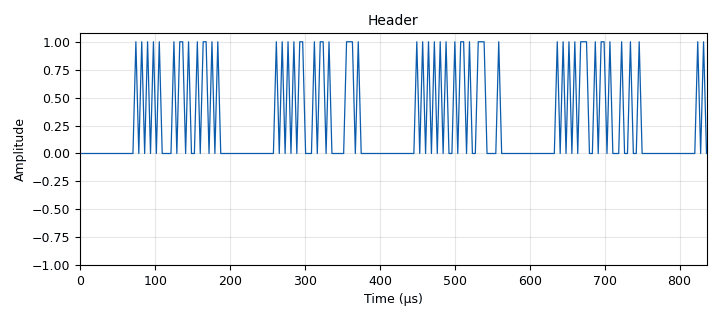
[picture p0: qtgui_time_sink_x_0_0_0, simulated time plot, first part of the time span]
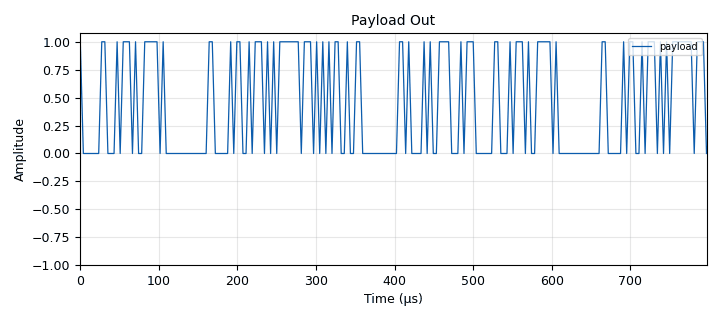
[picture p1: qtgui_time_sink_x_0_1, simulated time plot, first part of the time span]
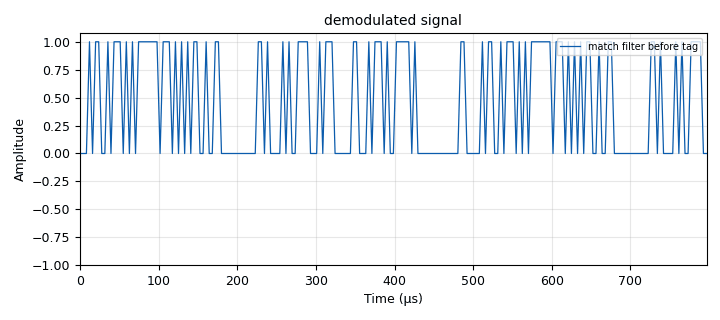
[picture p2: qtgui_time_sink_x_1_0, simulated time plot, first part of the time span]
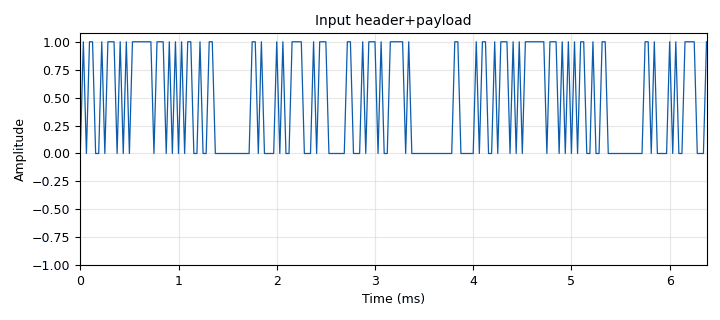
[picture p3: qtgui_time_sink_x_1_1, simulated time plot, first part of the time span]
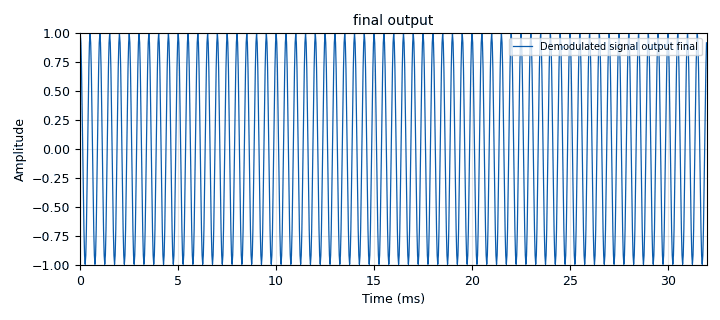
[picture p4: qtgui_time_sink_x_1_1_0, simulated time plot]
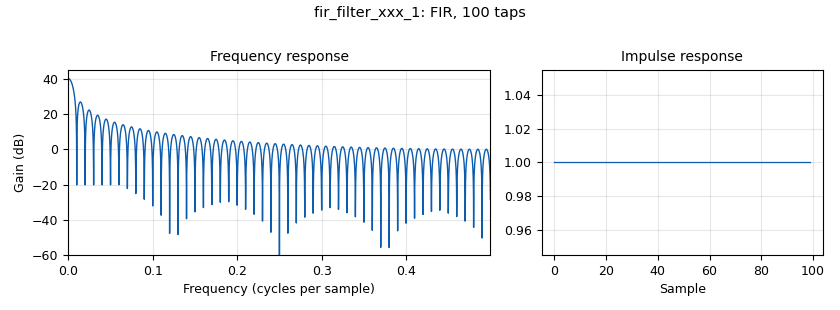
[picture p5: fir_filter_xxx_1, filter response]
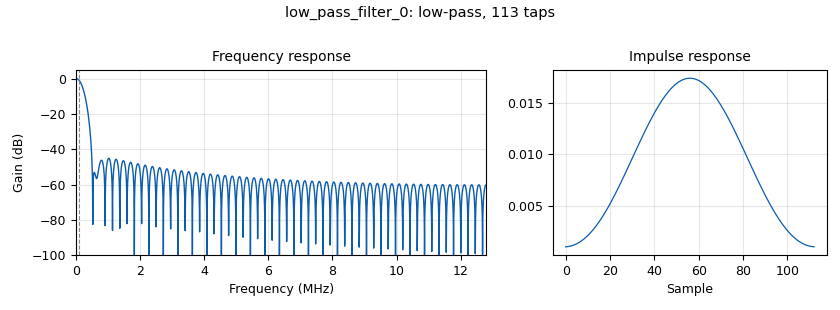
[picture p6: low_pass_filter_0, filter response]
options:
  parameters:
    generate_options: qt_gui
    id: fsk_mod_demod
    output_language: python
    title: Not titled yet
  states: {}

blocks:
- name: Sig1
  id: variable
  parameters:
    value: np.exp((1j)*2*np.pi*np.arange(0,100)/100)
  states: {}
- name: hbits
  id: variable
  parameters:
    value: '48'
  states: {}
- name: nbits
  id: variable
  parameters:
    value: '2728'
  states: {}
- name: out_delay
  id: variable_qtgui_range
  parameters:
    label: sig_delay2
    start: '0'
    step: '1'
    stop: '100'
    value: '0'
  states: {}
- name: samp_rate
  id: variable
  parameters:
    value: 3.2e6
  states: {}
- name: sdelay
  id: variable_qtgui_range
  parameters:
    label: sig_delay
    start: '0'
    step: '1'
    stop: '100'
    value: '49'
  states: {}
- name: analog_sig_source_x_0
  id: analog_sig_source_x
  parameters:
    amp: '127'
    freq: '2000'
    offset: '0'
    phase: '0'
    samp_rate: samp_rate/100
    type: byte
    waveform: analog.GR_COS_WAVE
  states: {}
- name: analog_sig_source_x_0_0
  id: analog_sig_source_x
  parameters:
    amp: '1'
    freq: 2e6
    offset: '0'
    phase: '0'
    samp_rate: samp_rate*8
    type: complex
    waveform: analog.GR_COS_WAVE
  states: {}
- name: analog_sig_source_x_0_0_0
  id: analog_sig_source_x
  parameters:
    amp: '1'
    freq: 2e6
    offset: '0'
    phase: '0'
    samp_rate: samp_rate*8
    type: float
    waveform: analog.GR_COS_WAVE
  states: {}
- name: audio_sink_0_0
  id: audio_sink
  parameters:
    samp_rate: '32000'
  states: {}
- name: blocks_add_const_vxx_0
  id: blocks_add_const_vxx
  parameters:
    const: '1'
    type: float
  states: {}
- name: blocks_char_to_float_0
  id: blocks_char_to_float
  parameters:
    scale: '1'
  states: {}
- name: blocks_char_to_float_0_0
  id: blocks_char_to_float
  parameters:
    scale: '1'
  states: {}
- name: blocks_char_to_float_0_0_0
  id: blocks_char_to_float
  parameters:
    scale: '1'
  states: {}
- name: blocks_char_to_float_0_2
  id: blocks_char_to_float
  parameters:
    scale: '1'
  states: {}
- name: blocks_complex_to_real_1
  id: blocks_complex_to_real
  parameters: {}
  states: {}
- name: blocks_delay_0
  id: blocks_delay
  parameters:
    delay: sdelay
    type: float
  states: {}
- name: blocks_delay_0_0
  id: blocks_delay
  parameters:
    delay: '12'
    type: byte
  states: {}
- name: blocks_delay_1
  id: blocks_delay
  parameters:
    delay: out_delay
    type: float
  states: {}
- name: blocks_float_to_char_0
  id: blocks_float_to_char
  parameters:
    scale: '1'
  states: {state: disabled}
- name: blocks_float_to_char_0_0
  id: blocks_float_to_char
  parameters:
    scale: '1'
  states: {}
- name: blocks_multiply_const_vxx_0
  id: blocks_multiply_const_vxx
  parameters:
    const: '-1'
    type: float
  states: {}
- name: blocks_multiply_const_vxx_0_0
  id: blocks_multiply_const_vxx
  parameters:
    const: '128'
    type: float
  states: {state: disabled}
- name: blocks_multiply_const_vxx_1_0
  id: blocks_multiply_const_vxx
  parameters:
    const: 1/128
    type: float
  states: {}
- name: blocks_multiply_xx_0
  id: blocks_multiply_xx
  parameters:
    type: complex
  states: {}
- name: blocks_multiply_xx_0_0
  id: blocks_multiply_xx
  parameters:
    type: float
  states: {}
- name: blocks_pack_k_bits_bb_0
  id: blocks_pack_k_bits_bb
  parameters:
    k: '8'
  states: {}
- name: blocks_stream_to_tagged_stream_0
  id: blocks_stream_to_tagged_stream
  parameters:
    len_tag_key: '"b_py"'
    packet_len: '100'
    type: float
  states: {state: disabled}
- name: blocks_stream_to_tagged_stream_1
  id: blocks_stream_to_tagged_stream
  parameters:
    len_tag_key: '"falign"'
    packet_len: nbits
    type: byte
  states: {}
- name: blocks_tag_gate_0
  id: blocks_tag_gate
  parameters:
    propagate_tags: 'False'
    type: byte
  states: {}
- name: blocks_tag_share_0
  id: blocks_tag_share
  parameters:
    io_type: byte
    share_type: byte
  states: {}
- name: blocks_tagged_stream_mux_0
  id: blocks_tagged_stream_mux
  parameters:
    lengthtagname: falign
    ninputs: '2'
    type: byte
  states: {}
- name: blocks_threshold_ff_0
  id: blocks_threshold_ff
  parameters:
    high: '40'
    init: '0'
    low: '30'
  states: {}
- name: blocks_unpack_k_bits_bb_0
  id: blocks_unpack_k_bits_bb
  parameters:
    k: '8'
  states: {}
- name: blocks_vector_source_x_0
  id: blocks_vector_source_x
  parameters:
    repeat: 'True'
    type: byte
    vector: '[1]*(nbits//2)+[0]*(nbits//2)+[0]*(nbits//2) + [1]*(nbits//2)+[1]*nbits'
  states: {state: disabled}
- name: blocks_vector_to_stream_0
  id: blocks_vector_to_stream
  parameters:
    num_items: '1'
    type: byte
  states: {}
- name: blocks_vector_to_stream_1
  id: blocks_vector_to_stream
  parameters:
    num_items: '1'
    type: byte
  states: {}
- name: blocks_wavfile_source_0
  id: blocks_wavfile_source
  parameters:
    file: /home/bunny/Projects/BTP work/Final work/vocal.wav
    repeat: 'True'
  states: {state: disabled}
- name: digital_chunks_to_symbols_xx_0_0
  id: digital_chunks_to_symbols_xx
  parameters:
    dimension: '100'
    in_type: byte
    out_type: complex
    symbol_table: np.concatenate((np.ones(100),Sig1))
  states: {}
- name: digital_correlate_access_code_tag_xx_0
  id: digital_correlate_access_code_tag_xx
  parameters:
    access_code: '000101010101'
    tagname: corr_find
    threshold: '0'
    type: byte
  states: {}
- name: digital_header_payload_demux_0
  id: digital_header_payload_demux
  parameters:
    header_len: hbits
    header_padding: '0'
    items_per_symbol: '1'
    length_tag_key: '"packet_len"'
    output_symbols: 'True'
    samp_rate: 32e3
    special_tags: (" ",)
    timing_tag_key: '"rx_time"'
    trigger_tag_key: '"corr_find"'
    type: byte
  states: {}
- name: digital_packet_headergenerator_bb_default_0
  id: digital_packet_headergenerator_bb_default
  parameters:
    header_len: hbits
    len_tag_key: '"falign"'
  states: {}
- name: digital_packet_headerparser_b_default_0
  id: digital_packet_headerparser_b_default
  parameters:
    header_len: hbits
    len_tag_key: '"packet_len"'
  states: {}
- name: fir_filter_xxx_1
  id: fir_filter_xxx
  parameters:
    decim: '100'
    taps: '[1]*100'
    type: fff
  states: {}
- name: import_0
  id: import
  parameters:
    imports: import numpy as np
  states: {}
- name: import_0_0
  id: import
  parameters:
    imports: import math
  states: {}
- name: low_pass_filter_0
  id: low_pass_filter
  parameters:
    cutoff_freq: 100e3
    gain: '1'
    interp: '1'
    samp_rate: 3.2e6*8
    type: interp_fir_filter_fff
    width: 550e3
    win: window.WIN_HAMMING
  states: {}
- name: qtgui_time_sink_x_0_0_0
  id: qtgui_time_sink_x
  parameters:
    label1: ''
    name: '"Header"'
    size: '1024'
    srate: 256e3
    type: float
  states: {}
- name: qtgui_time_sink_x_0_1
  id: qtgui_time_sink_x
  parameters:
    label1: payload
    name: '" Payload Out"'
    size: 1024*4
    srate: 256e3
    type: float
  states: {}
- name: qtgui_time_sink_x_1
  id: qtgui_time_sink_x
  parameters:
    label1: match filter before tag
    size: '1024'
    srate: samp_rate*8
    type: float
  states: {state: disabled}
- name: qtgui_time_sink_x_1_0
  id: qtgui_time_sink_x
  parameters:
    label1: match filter before tag
    name: '"demodulated signal"'
    size: 1024*4
    srate: 256e3
    type: float
  states: {}
- name: qtgui_time_sink_x_1_1
  id: qtgui_time_sink_x
  parameters:
    label1: ''
    name: '"Input header+payload"'
    size: 1024*4
    srate: 32e3
    type: float
  states: {}
- name: qtgui_time_sink_x_1_1_0
  id: qtgui_time_sink_x
  parameters:
    label1: Demodulated signal output final
    name: '"final output"'
    size: '1024'
    srate: 32e3
    type: float
  states: {}
- name: virtual_sink_0
  id: virtual_sink
  parameters:
    stream_id: output_mod
  states: {}
- name: virtual_source_0
  id: virtual_source
  parameters:
    stream_id: output_mod
  states: {}

connections:
- [analog_sig_source_x_0, '0', blocks_unpack_k_bits_bb_0, '0']
- [analog_sig_source_x_0_0, '0', blocks_multiply_xx_0, '0']
- [analog_sig_source_x_0_0_0, '0', blocks_multiply_xx_0_0, '1']
- [blocks_add_const_vxx_0, '0', blocks_float_to_char_0_0, '0']
- [blocks_add_const_vxx_0, '0', qtgui_time_sink_x_1_0, '0']
- [blocks_char_to_float_0, '0', blocks_multiply_const_vxx_1_0, '0']
- [blocks_char_to_float_0_0, '0', qtgui_time_sink_x_1_1, '0']
- [blocks_char_to_float_0_0_0, '0', qtgui_time_sink_x_0_0_0, '0']
- [blocks_char_to_float_0_2, '0', qtgui_time_sink_x_0_1, '0']
- [blocks_complex_to_real_1, '0', blocks_delay_1, '0']
- [blocks_delay_0, '0', blocks_stream_to_tagged_stream_0, '0']
- [blocks_delay_0, '0', fir_filter_xxx_1, '0']
- [blocks_delay_0_0, '0', blocks_tag_share_0, '0']
- [blocks_delay_1, '0', virtual_sink_0, '0']
- [blocks_float_to_char_0, '0', blocks_unpack_k_bits_bb_0, '0']
- [blocks_float_to_char_0_0, '0', blocks_tag_gate_0, '0']
- [blocks_multiply_const_vxx_0, '0', blocks_add_const_vxx_0, '0']
- [blocks_multiply_const_vxx_0_0, '0', blocks_float_to_char_0, '0']
- [blocks_multiply_const_vxx_1_0, '0', audio_sink_0_0, '0']
- [blocks_multiply_const_vxx_1_0, '0', qtgui_time_sink_x_1_1_0, '0']
- [blocks_multiply_xx_0, '0', blocks_complex_to_real_1, '0']
- [blocks_multiply_xx_0_0, '0', low_pass_filter_0, '0']
- [blocks_pack_k_bits_bb_0, '0', blocks_char_to_float_0, '0']
- [blocks_stream_to_tagged_stream_0, '0', qtgui_time_sink_x_1, '0']
- [blocks_stream_to_tagged_stream_1, '0', blocks_tagged_stream_mux_0, '1']
- [blocks_stream_to_tagged_stream_1, '0', digital_packet_headergenerator_bb_default_0, '0']
- [blocks_tag_gate_0, '0', blocks_delay_0_0, '0']
- [blocks_tag_gate_0, '0', digital_correlate_access_code_tag_xx_0, '0']
- [blocks_tag_share_0, '0', digital_header_payload_demux_0, '0']
- [blocks_tagged_stream_mux_0, '0', blocks_char_to_float_0_0, '0']
- [blocks_tagged_stream_mux_0, '0', digital_chunks_to_symbols_xx_0_0, '0']
- [blocks_threshold_ff_0, '0', blocks_multiply_const_vxx_0, '0']
- [blocks_unpack_k_bits_bb_0, '0', blocks_stream_to_tagged_stream_1, '0']
- [blocks_vector_source_x_0, '0', blocks_stream_to_tagged_stream_1, '0']
- [blocks_vector_to_stream_0, '0', blocks_char_to_float_0_0_0, '0']
- [blocks_vector_to_stream_0, '0', digital_packet_headerparser_b_default_0, '0']
- [blocks_vector_to_stream_1, '0', blocks_char_to_float_0_2, '0']
- [blocks_vector_to_stream_1, '0', blocks_pack_k_bits_bb_0, '0']
- [blocks_wavfile_source_0, '0', blocks_multiply_const_vxx_0_0, '0']
- [digital_chunks_to_symbols_xx_0_0, '0', blocks_multiply_xx_0, '1']
- [digital_correlate_access_code_tag_xx_0, '0', blocks_tag_share_0, '1']
- [digital_header_payload_demux_0, '0', blocks_vector_to_stream_0, '0']
- [digital_header_payload_demux_0, '1', blocks_vector_to_stream_1, '0']
- [digital_packet_headergenerator_bb_default_0, '0', blocks_tagged_stream_mux_0, '0']
- [digital_packet_headerparser_b_default_0, header_data, digital_header_payload_demux_0, header_data]
- [fir_filter_xxx_1, '0', blocks_threshold_ff_0, '0']
- [low_pass_filter_0, '0', blocks_delay_0, '0']
- [virtual_source_0, '0', blocks_multiply_xx_0_0, '0']

metadata:
  file_format: 1
  grc_version: 3.10.7.0
